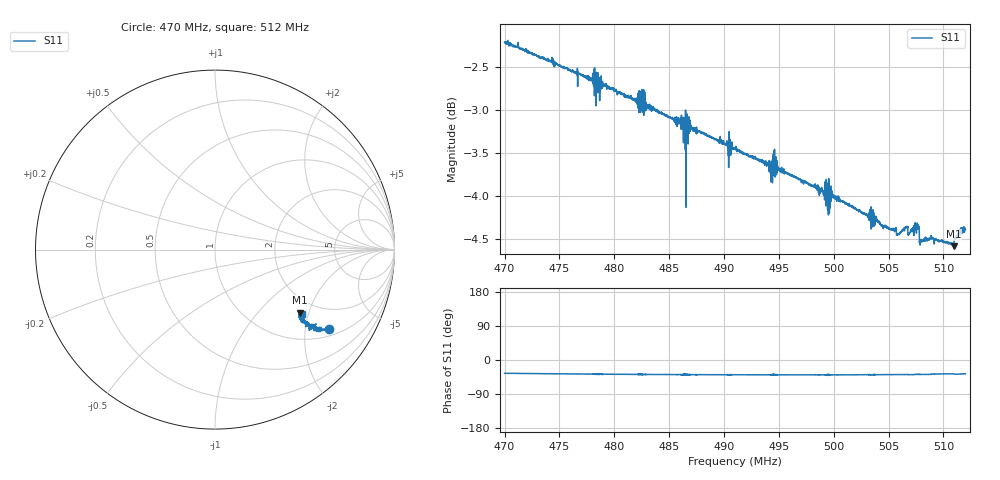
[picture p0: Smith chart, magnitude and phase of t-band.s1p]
! Calibrated averaged scanner-service zoom
# Hz S RI R 50
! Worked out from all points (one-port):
!   4001 points, 470 MHz to 512 MHz, reference 50 ohm
!   lowest |S11| = -4.6 dB at 510.9 MHz (marker M1), VSWR 3.88, Z = 81.7 - j87.9 ohm
!   |S11| at or under -10 dB: nowhere
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4.7e8  0.6341 -0.4446
4.7525e8  0.6026 -0.4464
4.782425e8  0.5795 -0.4366
4.805e8  0.5738 -0.4417
4.827155e8  0.5634 -0.4397
4.8575e8  0.545 -0.4303
4.86086e8  0.5444 -0.429
4.863905e8  0.5395 -0.4213
4.867685e8  0.5471 -0.43
4.91e8  0.5233 -0.422
4.94255e8  0.5033 -0.4095
4.94675e8  0.5024 -0.4141
4.9625e8  0.5033 -0.4089
5.015e8  0.4834 -0.3922
5.04335e8  0.4741 -0.378
5.059205e8  0.4685 -0.3752
5.0654e8  0.4744 -0.3759
5.0675e8  0.4774 -0.3729
5.069705e8  0.4699 -0.3753
5.0759e8  0.4824 -0.3699
5.080205e8  0.4678 -0.3673
5.0864e8  0.4688 -0.3678
5.090705e8  0.4763 -0.3586
5.101205e8  0.477 -0.3533
5.1074e8  0.4758 -0.3522
5.10929e8  0.4748 -0.3505
5.11181e8  0.4751 -0.3636
5.12e8  0.4857 -0.3582
